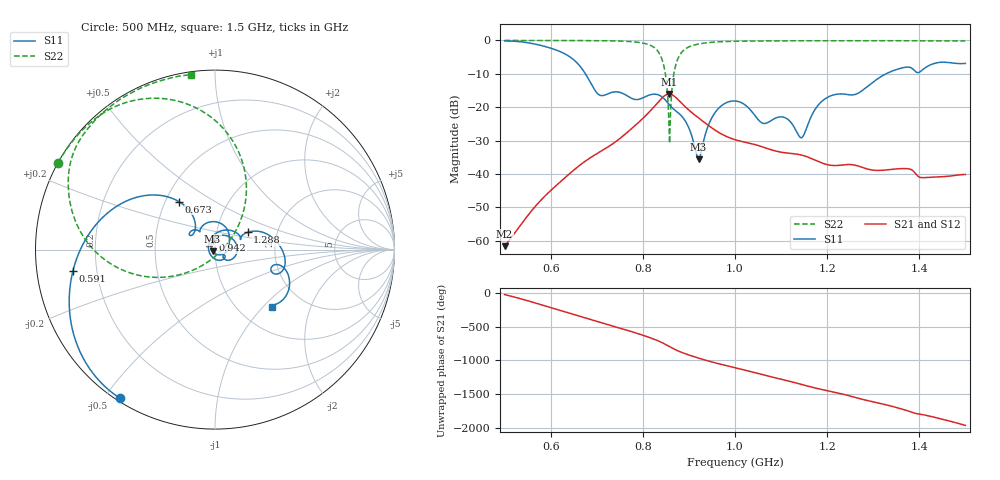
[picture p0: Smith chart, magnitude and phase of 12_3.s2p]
! TOUCHSTONE file generated by CST MICROWAVE STUDIO
! Date and time: Fri Oct  2 16:39:24 2020
! Project name: Scenario_1_Free_Space_out_of_line.cst
! Parameters = {Lambda=346.42; Step_1=17.321; dy1=156.889; dx1=520; L_HA=400; MT=2.54; Rad_Dielectric=30; Rad_Lower=7.3; Rad_Upper=30; a_HA=580; a_WG=246; b_HA=500; b_WG=121; c_HA=0; c_WG=187; d_feed=85; h_feed=15; h_lower=18; h_upper=40}
! Header version: 2018
! Port assignment regex: !\s*Touchstone port\s*([0-9]+)\s*=\s*(CST MWS port|CST DS port)\s*([0-9]+|Zmin|Zmax)\s*\(\"(.*)\"\)(\s*mode\s*([0-9]+))?.*
! Touchstone port assignment:
! Touchstone port 1 = CST MWS port 1 ("")
! Touchstone port 2 = CST MWS port 2 ("")
# GHz S DB R 50
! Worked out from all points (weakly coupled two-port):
!   1003 points, 500 MHz to 1.5 GHz, reference 50 ohm
!   highest |S21| = -16.06 dB at 857 MHz (marker M1); lowest = -61.6 dB at 500 MHz (marker M2)
!   lowest |S11| = -35.6 dB at 921 MHz (marker M3), VSWR 1.03, Z = 48.6 - j0.892 ohm
!   |S11| at or under -10 dB: 675.4 MHz to 1.328 GHz (652.3 MHz wide, 65.1 % of centre)
!   |S22| runs from -30.8 to 0.0 dB; largest |S21 - S12| = 2.9e-05
!   S11 on the Smith chart (normalised r, x): 500 MHz: 0.01, -0.55; 591 MHz: 0.11, -0.07; 673 MHz: 0.59, +0.35; 942 MHz: 0.97, +0.10; 1.288 GHz: 1.41, +0.28; 1.5 GHz: 1.40, -1.13
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0.5  -0.15 -122.7  -61.65 -26.0  -61.65 -26.0  -0.01 151.1
0.591  -1.94 -171.6  -46.16 159.6  -46.16 159.6  -0.02 144.8
0.667  -8.31 130.9  -36.98 4.4  -36.99 4.4  -0.05 138.3
0.673  -9.49 127.0  -36.37 -8.2  -36.37 -8.2  -0.05 137.7
0.708  -16.47 140.3  -33.30 -80.6  -33.30 -80.6  -0.08 133.8
0.787  -17.73 130.4  -25.02 121.4  -25.02 121.4  -0.51 117.9
0.834  -16.32 83.1  -18.36 7.2  -18.36 7.2  -3.51 85.3
0.847  -17.58 59.3  -16.60 -35.0  -16.60 -35.0  -8.55 62.1
0.857  -19.18 43.6  -16.06 -71.8  -16.06 -71.8  -27.22 4.3
0.867  -20.61 30.7  -16.59 -108.2  -16.58 -108.2  -10.23 -150.3
0.877  -21.72 15.9  -17.81 -140.3  -17.81 -140.3  -5.19 -169.3
0.921  -35.64 -146.3  -23.23 114.4  -23.23 114.4  -1.07 157.5
0.942  -25.52 103.1  -25.43 72.2  -25.43 72.2  -0.65 151.1
1  -18.14 -1.4  -29.74 -26.8  -29.74 -26.8  -0.25 140.2
1.06  -24.80 -38.5  -31.92 -130.7  -31.92 -130.7  -0.16 133.3
1.111  -23.31 -59.6  -33.70 145.1  -33.70 145.1  -0.12 128.7
1.143  -29.15 -160.7  -34.30 88.4  -34.30 88.4  -0.11 126.1
1.167  -22.34 98.9  -35.46 44.9  -35.46 44.9  -0.10 124.2
1.202  -16.96 47.6  -37.27 -9.2  -37.27 -9.2  -0.09 121.4
1.288  -13.75 28.0  -38.55 -153.3  -38.55 -153.3  -0.08 114.9
1.334  -9.58 10.7  -38.72 134.0  -38.72 134.0  -0.09 111.4
1.5  -6.89 -45.3  -40.16 -160.5  -40.19 -160.4  -0.15 97.8
